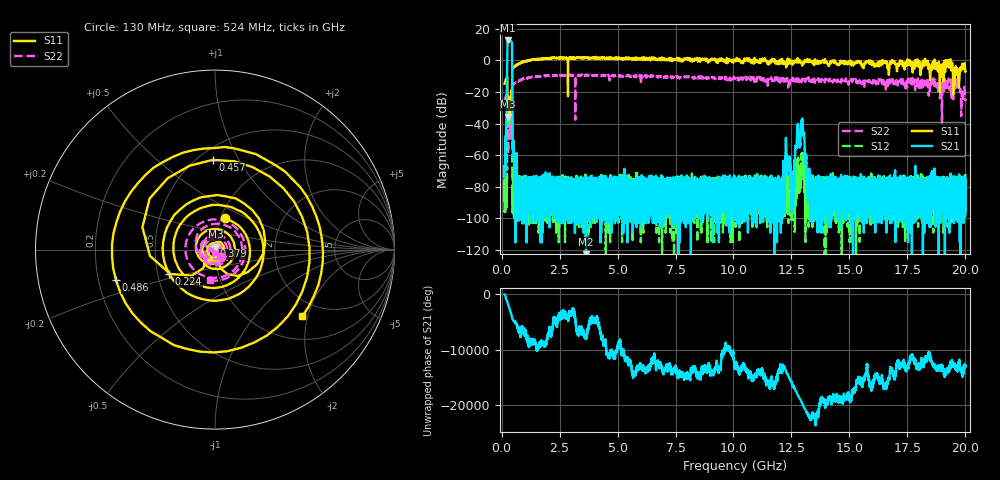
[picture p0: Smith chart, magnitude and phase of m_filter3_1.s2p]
!Created with skrf (http://scikit-rf.org).
# GHz S RI R 50.0
!freq ReS11 ImS11 ReS21 ImS21 ReS12 ImS12 ReS22 ImS22
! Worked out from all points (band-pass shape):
!   20013 points, 130 MHz to 20 GHz, reference 50 ohm
!   highest |S21| = 12.49 dB at 275 MHz (marker M1); lowest = -178.6 dB at 3.642 GHz (marker M2)
!   |S21| within 3 dB of the highest: 249.6 MHz to 450.3 MHz (200.7 MHz wide, 57.3 % of centre)
!   lowest |S11| = -35.7 dB at 269 MHz (marker M3), VSWR 1.03, Z = 50.4 + j1.61 ohm
!   |S11| at or under -10 dB: start of sweep to 451.4 MHz; 18.88347 GHz to 18.9111 GHz (27.63 MHz wide, 0.146 % of centre); 19.6875 GHz to 19.748 GHz (60.5 MHz wide, 0.307 % of centre) (the widest 3 of 9)
!   |S22| runs from -59.1 to -9.1 dB; largest |S21 - S12| = 4.2
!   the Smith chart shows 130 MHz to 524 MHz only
!   S11 on the Smith chart (normalised r, x): 130 MHz: 1.05, +0.38; 224 MHz: 0.57, -0.17; 379 MHz: 0.99, +0.04; 457 MHz: 0.59, +0.78; 486 MHz: 0.27, -0.14; 524 MHz: 1.55, -1.85
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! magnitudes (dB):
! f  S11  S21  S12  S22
! 130 MHz  -14.8  -73.9  -88.4  -25.5
! 224 MHz  -10.8  -23.2  -79.5  -21.3
! 269 MHz  -35.7  12.4  -42.1  -41.9
! 275 MHz  -30.1  12.5  -41.7  -41.5
! 379 MHz  -34.0  12.2  -36.7  -43.6
! 457 MHz  -6.0  -6.3  -51.9  -16.7
! 486 MHz  -4.8  -58.2  -80.7  -15.6
! 524 MHz  -4.3  -52.3  -89.6  -15.2
! 585 MHz  -3.7  -78.7  -92.8  -14.4
! 774 MHz  -2.0  -79.2  -79.2  -12.7
! 3.442 GHz  1.9  -84.9  -84.9  -9.2
! 3.642 GHz  1.7  -178.6  -84.8  -9.6
! 6.754 GHz  0.2  -83.6  -75.6  -10.7
! 10.06 GHz  -0.5  -88.7  -88.8  -11.9
! 12.02 GHz  -0.2  -84.0  -81.8  -13.5
! 12.34 GHz  1.0  -66.1  -74.1  -14.0
! 12.54 GHz  -2.8  -90.1  -78.7  -11.1
! 12.73 GHz  -0.7  -50.0  -74.2  -11.7
! 12.97 GHz  -3.3  -37.2  -59.0  -11.8
! 13.38 GHz  -1.0  -74.2  -89.9  -12.7
! 16.69 GHz  -7.1  -76.3  -79.6  -12.4
! 20 GHz  -7.2  -86.5  -71.9  -24.4
